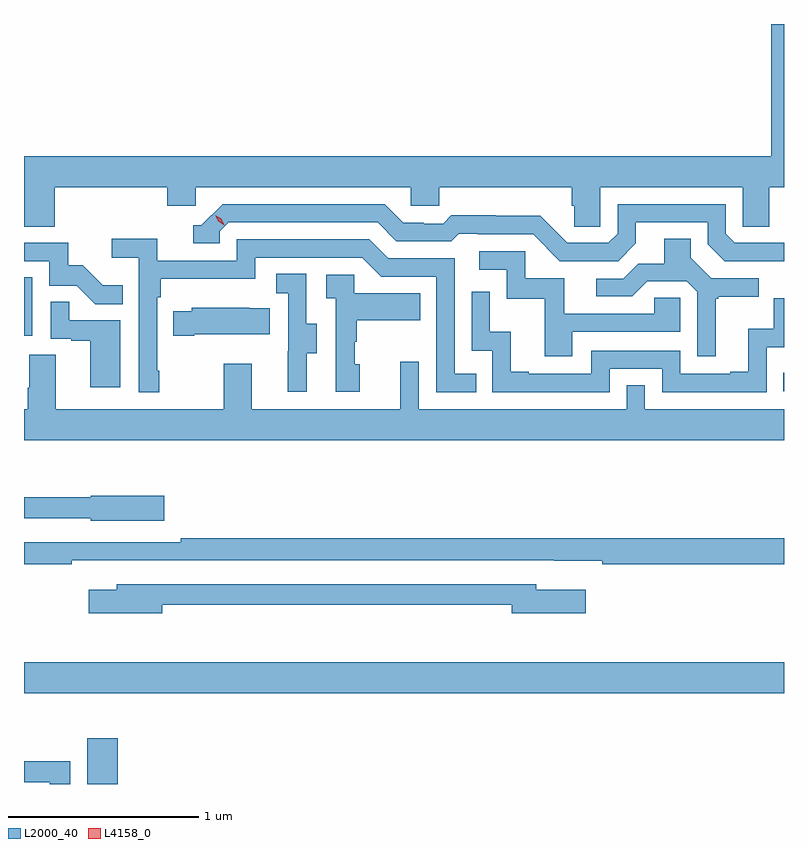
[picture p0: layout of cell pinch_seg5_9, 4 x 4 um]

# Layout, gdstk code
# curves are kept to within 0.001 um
import gdstk
lib = gdstk.Library(unit=1e-6, precision=1e-09)
def R(c, l, rs):  # rectangles x0, y0, x1, y1
    for r in rs: c.add(gdstk.rectangle(r[:2], r[2:], *l))
def P(c, l, *ps):  # polygons
    for p in ps: c.add(gdstk.Polygon(p, *l))
L2000_40 = (2000, 40)
L4158_0 = (4158, 0)

pinch_seg5_9 = lib.new_cell('pinch_seg5_9')
R(pinch_seg5_9, L2000_40, [(1128.365,900.239,1128.526,900.481), (1128.032,900.716,1132.032,900.88), (1132.027,902.307,1132.032,902.404), (1128.032,902.598,1128.076,902.905)])
P(pinch_seg5_9, L2000_40, [(1128.194,903.38),(1128.785,903.38),(1128.785,903.282),(1128.936,903.282),(1128.936,903.38),(1130.067,903.38),(1130.067,903.282),(1130.217,903.282),(1130.217,903.38),(1130.915,903.38),(1130.915,903.282),(1130.929,903.282),(1130.929,903.172),(1131.066,903.172),(1131.066,903.38),(1131.816,903.38),(1131.816,903.172),(1131.955,903.172),(1131.955,903.38),(1132.032,903.38),(1132.032,904.239),(1131.965,904.239),(1131.965,903.544),(1128.032,903.544),(1128.032,903.38),(1128.034,903.38),(1128.034,903.172),(1128.194,903.172)],
  [(1132.032,903.087),(1131.774,903.087),(1131.726,903.135),(1131.726,903.291),(1131.156,903.291),(1131.156,903.135),(1131.108,903.087),(1130.892,903.087),(1130.75,903.229),(1130.514,903.229),(1130.514,903.232),(1130.281,903.232),(1130.239,903.189),(1130.136,903.189),(1130.136,903.192),(1130.029,903.192),(1129.93,903.291),(1129.077,903.291),(1128.966,903.18),(1128.923,903.18),(1128.923,903.084),(1129.062,903.084),(1129.062,903.147),(1129.11,903.195),(1129.893,903.195),(1129.992,903.096),(1130.281,903.096),(1130.32,903.135),(1130.419,903.135),(1130.419,903.132),(1130.712,903.132),(1130.853,902.991),(1131.159,902.991),(1131.253,903.085),(1131.253,903.195),(1131.63,903.195),(1131.63,903.081),(1131.72,902.991),(1132.032,902.99)],
  [(1131.673,902.793),(1131.685,902.793),(1131.685,902.804),(1131.898,902.804),(1131.898,902.901),(1131.648,902.901),(1131.541,903.008),(1131.541,903.11),(1131.401,903.11),(1131.401,902.978),(1131.266,902.978),(1131.186,902.898),(1131.045,902.898),(1131.045,902.805),(1131.232,902.805),(1131.313,902.886),(1131.519,902.886),(1131.576,902.829),(1131.576,902.49),(1131.673,902.49)],
  [(1128.745,902.413),(1128.732,902.413),(1128.732,902.801),(1128.752,902.801),(1128.752,902.897),(1129.248,902.897),(1129.248,903.009),(1129.812,903.009),(1129.911,902.91),(1130.202,902.91),(1130.202,902.301),(1130.411,902.301),(1130.411,902.397),(1130.298,902.397),(1130.298,903.006),(1129.948,903.006),(1129.849,903.105),(1129.152,903.105),(1129.152,902.994),(1128.734,902.994),(1128.734,903.11),(1128.495,903.11),(1128.495,903.008),(1128.636,903.008),(1128.636,902.301),(1128.745,902.301)],
  [(1128.551,902.863),(1128.447,902.863),(1128.34,902.97),(1128.264,902.97),(1128.264,903.087),(1128.032,903.087),(1128.032,902.991),(1128.165,902.991),(1128.165,902.862),(1128.309,902.862),(1128.407,902.764),(1128.551,902.764)],
  [(1130.917,902.619),(1131.486,902.619),(1131.486,902.799),(1131.349,902.799),(1131.349,902.715),(1130.875,902.715),(1130.875,902.901),(1130.67,902.901),(1130.67,903.042),(1130.427,903.042),(1130.427,902.946),(1130.574,902.946),(1130.574,902.793),(1130.773,902.793),(1130.773,902.49),(1130.917,902.49)],
  [(1129.519,902.506),(1129.573,902.506),(1129.573,902.661),(1129.518,902.661),(1129.518,902.924),(1129.359,902.924),(1129.359,902.821),(1129.422,902.821),(1129.422,902.517),(1129.421,902.517),(1129.421,902.304),(1129.519,902.304)],
  [(1129.798,902.448),(1129.773,902.448),(1129.773,902.567),(1129.783,902.567),(1129.783,902.681),(1130.117,902.681),(1130.117,902.821),(1129.77,902.821),(1129.77,902.919),(1129.623,902.919),(1129.623,902.795),(1129.674,902.795),(1129.674,902.304),(1129.798,902.304)],
  [(1131.114,902.424),(1131.39,902.424),(1131.39,902.301),(1131.942,902.301),(1131.942,902.537),(1132.032,902.537),(1132.032,902.796),(1131.978,902.796),(1131.978,902.635),(1131.845,902.635),(1131.845,902.41),(1131.749,902.41),(1131.749,902.397),(1131.486,902.397),(1131.486,902.52),(1131.018,902.52),(1131.018,902.397),(1130.689,902.397),(1130.689,902.41),(1130.594,902.41),(1130.594,902.618),(1130.484,902.618),(1130.484,902.83),(1130.388,902.83),(1130.388,902.52),(1130.496,902.52),(1130.496,902.301),(1131.114,902.301)],
  [(1128.538,902.679),(1128.269,902.679),(1128.269,902.777),(1128.174,902.777),(1128.174,902.583),(1128.281,902.583),(1128.281,902.571),(1128.38,902.571),(1128.38,902.328),(1128.538,902.328)],
  [(1128.928,902.606),(1129.325,902.606),(1129.325,902.743),(1129.217,902.743),(1129.217,902.746),(1128.915,902.746),(1128.915,902.728),(1128.817,902.728),(1128.817,902.599),(1128.928,902.599)],
  [(1132.032,902.212),(1131.3,902.212),(1131.3,902.339),(1131.204,902.339),(1131.204,902.212),(1130.109,902.212),(1130.109,902.461),(1130.012,902.461),(1130.012,902.212),(1129.231,902.212),(1129.231,902.452),(1129.084,902.452),(1129.084,902.212),(1128.199,902.212),(1128.199,902.498),(1128.059,902.498),(1128.059,902.324),(1128.052,902.324),(1128.052,902.212),(1128.032,902.212),(1128.032,902.048),(1132.032,902.048)],
  [(1128.769,901.755),(1128.384,901.755),(1128.384,901.747),(1128.032,901.747),(1128.032,901.638),(1128.384,901.638),(1128.384,901.625),(1128.769,901.625)],
  [(1128.284,901.416),(1130.824,901.416),(1130.824,901.415),(1131.076,901.415),(1131.076,901.396),(1132.032,901.396),(1132.032,901.532),(1128.856,901.532),(1128.856,901.512),(1128.032,901.512),(1128.032,901.396),(1128.284,901.396)],
  [(1128.76,901.182),(1130.6,901.182),(1130.6,901.139),(1130.989,901.139),(1130.989,901.261),(1130.728,901.261),(1130.728,901.29),(1128.521,901.29),(1128.521,901.261),(1128.372,901.261),(1128.372,901.139),(1128.76,901.139)],
  [(1128.276,900.358),(1128.032,900.358),(1128.032,900.248),(1128.167,900.248),(1128.167,900.239),(1128.276,900.239)])
P(pinch_seg5_9, L4158_0, [(1129.086,903.181),(1129.055,903.2),(1129.038,903.232),(1129.038,903.232),(1129.038,903.232),(1129.069,903.213),(1129.086,903.181),(1129.086,903.181)])

lib.write_gds('pinch_seg5_9.gds')
